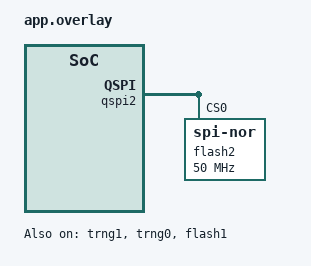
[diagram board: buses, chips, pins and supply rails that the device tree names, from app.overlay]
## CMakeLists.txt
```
# SPDX-License-Identifier: Apache-2.0
# perf_test cpu1: throughput suites for TRNG, crypto, DMA, flash/qspi and mbox.

cmake_minimum_required(VERSION 3.20.0)
find_package(Zephyr REQUIRED HINTS $ENV{ZEPHYR_BASE})
project(cpu1_perf_test)

target_sources(app PRIVATE
    src/main.c
    src/perf_buf.c
    src/perf_flash_lock.c
    src/perf_trng.c
    src/perf_crypto.c
    src/perf_dma.c
    src/perf_flash.c
    src/perf_mbox.c
    src/perf_proxy.c
    src/perf_telemetry.c)

set(COMMON ${CMAKE_CURRENT_SOURCE_DIR}/../../../common)

# Deliberately do not include common_sources.cmake: it adds gpio_toggle.c,
# whose startup LOG_INF lines interleave with the PERF output.  The perf
# project needs contiguous measurement lines, so only the result/glue modules
# are pulled in.
target_sources(app PRIVATE
    ${COMMON}/test_results.c
    ${COMMON}/ztest_glue.c)

target_include_directories(app PRIVATE
    ${CMAKE_CURRENT_SOURCE_DIR}/src
    ${CMAKE_CURRENT_SOURCE_DIR}/../include
    ${COMMON}
    ${CMAKE_CURRENT_SOURCE_DIR}/../tests/include)
```

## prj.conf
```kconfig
# SPDX-License-Identifier: Apache-2.0
# perf_test cpu1: TRNG / crypto / DMA / mbox throughput.
# The project only reports rates; functional assertions still guard each path.

CONFIG_PICOLIBC=y
CONFIG_NEWLIB_LIBC=n
CONFIG_MINIMAL_LIBC=n

CONFIG_LOG=y
CONFIG_LOG_MODE_MINIMAL=y
# The telemetry relay thread and the ztest thread both printk on cpu1;
# without this lock their characters interleave and the PERF_TEST:CTRL:
# envelope gets split (observed on hardware).
CONFIG_PRINTK_SYNC=y

CONFIG_ZTEST=y
CONFIG_ZTEST_ASSERT_VERBOSE=1
CONFIG_ZTEST_VERBOSE_OUTPUT=y
CONFIG_ZTEST_SUMMARY=n
CONFIG_ZTEST_STACK_SIZE=16384
CONFIG_MAIN_STACK_SIZE=10240

CONFIG_TIMING_FUNCTIONS=y
CONFIG_ENTROPY_GENERATOR=y
CONFIG_DMA=y
CONFIG_MBOX=y
CONFIG_GPIO=y

# ---- flash / qspi throughput ----
CONFIG_FLASH=y
CONFIG_FLASH_MAP=y
CONFIG_FLASH_PAGE_LAYOUT=y

# ---- mbedtls: accelerated hashes and ciphers ----
CONFIG_MBEDTLS=y
CONFIG_MBEDTLS_BUILTIN=y
CONFIG_MBEDTLS_ENABLE_HEAP=y
CONFIG_MBEDTLS_HEAP_SIZE=32768
# Required by the *_HARDWARE_ALT hash/cipher paths (same as otbn_selftest):
# without it sha256_alt.c / sha512_alt.c fail on mbedtls_threading_mutex_t.
CONFIG_MBEDTLS_THREADING_LINKEDSEMI_ALT=y

CONFIG_MBEDTLS_SHA224=y
CONFIG_MBEDTLS_SHA256=y
CONFIG_MBEDTLS_SHA384=y
CONFIG_MBEDTLS_SHA512=y
# cpu1 runs the hardware SHA/SM3 engine; cpu2 runs OTBN (see cpu2_perf_peer).
CONFIG_MBEDTLS_SHA224_SHA256_LINKEDSEMI_HARDWARE_ALT=y
CONFIG_MBEDTLS_SM3_LINKEDSEMI_HARDWARE_ALT=y
CONFIG_MBEDTLS_SHA384_SHA512_LINKEDSEMI_HARDWARE_ALT=y

CONFIG_MBEDTLS_CIPHER_AES_ENABLED=y
CONFIG_MBEDTLS_CIPHER_AES_LINKEDSEMI=y
CONFIG_MBEDTLS_CIPHER_MODE_CBC_ENABLED=y
CONFIG_MBEDTLS_CIPHER_MODE_CTR_ENABLED=y
CONFIG_MBEDTLS_SM4_LINKEDSEMI_HARDWARE_ALT=y

CONFIG_SM4_CLOCK_RESET=y
CONFIG_AES_CLOCK_RESET=y
CONFIG_SHA512_CLOCK_RESET=y
CONFIG_SHA256_CLOCK_RESET=y
```

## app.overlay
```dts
/*
 * SPDX-License-Identifier: Apache-2.0
 *
 * perf_test cpu1 overlay (lsqsh_evb@2os, target).
 *
 * MBOX consumers are appended after the five board-level consumers
 * (qspi/otbn/espi/vuart/pcc1 = 0..4), so their mboxes first cell is 5/6.
 * Keep this in sync with the cpu2 peer overlay.
 */

/ {
	chosen {
		zephyr,console = &uart1;
		zephyr,shell-uart = &uart1;
		zephyr,entropy = &trng1;
	};
};

&trng1 {
	status = "okay";
};

&trng0 {
	status = "okay";
};

&dmac1 {
	status = "okay";
};

&dmac2 {
	status = "okay";
};

/* qspi1 boot flash: the perf suite only touches the rwfs partition. */
&flash1 {
	status = "okay";
};

/* qspi2 board NOR (32 MiB): raw flash API throughput. */
&qspi2 {
	status = "okay";
	auto-wait-ready;
	auto-wait-interval = <1000>;

	flash2: flash2@0 {
		compatible = "jedec,spi-nor";
		reg = <0>;
		spi-max-frequency = <DT_FREQ_M(50)>;
		spi-max-buswidth = <4>;
		status = "okay";
	};
};

&mbox {
	perf_ch5: perf_ch5 {
		compatible = "vnd,mbox-consumer";
		mboxes = <&mbox 5 64 4 64 4>;
		mbox-names = "mbox";
	};

	perf_ch6: perf_ch6 {
		compatible = "vnd,mbox-consumer";
		mboxes = <&mbox 6 64 4 64 4>;
		mbox-names = "mbox";
	};

	perf_ch7: perf_ch7 {
		compatible = "vnd,mbox-consumer";
		mboxes = <&mbox 7 64 4 64 4>;
		mbox-names = "mbox";
	};

	perf_ch8: perf_ch8 {
		compatible = "vnd,mbox-consumer";
		mboxes = <&mbox 8 64 4 64 4>;
		mbox-names = "mbox";
	};

	perf_ch9: perf_ch9 {
		compatible = "vnd,mbox-consumer";
		mboxes = <&mbox 9 128 2 128 2>;
		mbox-names = "mbox";
	};
};
```

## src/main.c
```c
/*
 * SPDX-License-Identifier: Apache-2.0
 *
 * perf_test cpu1 entry: pure ztest, one banner line then zt_init/zt_run_all.
 */
#include <zephyr/kernel.h>

#include "ztest_glue.h"

extern int perf_proxy_server_init(void);
extern int perf_telemetry_init(void);

void test_main(void)
{
	printk("[CPU1 PERF] performance test started\n");

	/* Start the flash proxy server before the cpu2 client can PING it, and
	 * the telemetry relay so cpu2's result lines appear on this console. */
	(void)perf_proxy_server_init();
	(void)perf_telemetry_init();

	zt_init("TGT");
	zt_run_all();
}
```

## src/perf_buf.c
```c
/*
 * SPDX-License-Identifier: Apache-2.0
 */
#include "perf_buf.h"

uint8_t perf_buf[PERF_BUF_SIZE + PERF_BUF_PAD] __aligned(32);
```

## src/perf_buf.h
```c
/*
 * SPDX-License-Identifier: Apache-2.0
 *
 * Shared measurement buffer for perf_test.
 *
 * The 2os cpu1 RAM region is only 256 KB.  Crypto, TRNG and flash suites run
 * sequentially, so they share one buffer instead of each reserving 64 KB.
 */
#ifndef PERF_BUF_H
#define PERF_BUF_H

#include <zephyr/kernel.h>
#include <stdint.h>

#define PERF_BUF_SIZE KB(32)
/* Extra room so the unaligned hash tests can start at perf_buf + 1. */
#define PERF_BUF_PAD  32

extern uint8_t perf_buf[];

#endif /* PERF_BUF_H */
```

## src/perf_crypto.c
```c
/*
 * SPDX-License-Identifier: Apache-2.0
 *
 * Crypto throughput: accelerated SHA256/SHA512/SM3 and AES/SM4 ciphers.
 *
 * Each algorithm is measured at 1/4/16/32 KB.  The engine (hardware vs OTBN
 * for SHA/SM3) is selected by the per-case prj.conf; this source is shared.
 * Rates are informational; every path still asserts the mbedtls return value.
 */
#include <zephyr/kernel.h>
#include <zephyr/ztest.h>
#include <string.h>

#include "mbedtls/sha256.h"
#include "mbedtls/sha512.h"
#include "mbedtls/sm3_alt.h"
#include "mbedtls/aes.h"
#include "mbedtls/sm4_alt.h"

#include "perf_common.h"
#include "perf_buf.h"

static const size_t crypto_sizes[] = { KB(1), KB(4), KB(16), KB(32) };

static const uint8_t aes_key[16] = { 0 };
static const uint8_t aes_iv[16] = { 0 };
static const uint8_t sm4_key[16] = { 0 };

/* ---------------------------------------------------------------- hashes */

ZTEST(perf_crypto, sha256)
{
	mbedtls_sha256_context ctx;
	uint8_t digest[32];

	for (size_t s = 0; s < ARRAY_SIZE(crypto_sizes); s++) {
		size_t size = crypto_sizes[s];
		uint64_t t0, t1;

		mbedtls_sha256_init(&ctx);
		zassert_equal(mbedtls_sha256_starts(&ctx, 0), 0, "sha256 starts");

		t0 = k_cycle_get_64();
		zassert_equal(mbedtls_sha256_update(&ctx, perf_buf, size), 0,
			      "sha256 update %u", (unsigned)size);
		zassert_equal(mbedtls_sha256_finish(&ctx, digest), 0,
			      "sha256 finish");
		t1 = k_cycle_get_64();

		mbedtls_sha256_free(&ctx);
		perf_bytes("crypto", "sha256", size, k_cyc_to_us_floor64(t1 - t0));
	}
}

ZTEST(perf_crypto, sha512)
{
	mbedtls_sha512_context ctx;
	uint8_t digest[64];

	for (size_t s = 0; s < ARRAY_SIZE(crypto_sizes); s++) {
		size_t size = crypto_sizes[s];
		uint64_t t0, t1;

		mbedtls_sha512_init(&ctx);
		zassert_equal(mbedtls_sha512_starts(&ctx, 0), 0, "sha512 starts");

		t0 = k_cycle_get_64();
		zassert_equal(mbedtls_sha512_update(&ctx, perf_buf, size), 0,
			      "sha512 update %u", (unsigned)size);
		zassert_equal(mbedtls_sha512_finish(&ctx, digest), 0,
			      "sha512 finish");
		t1 = k_cycle_get_64();

		mbedtls_sha512_free(&ctx);
		perf_bytes("crypto", "sha512", size, k_cyc_to_us_floor64(t1 - t0));
	}
}

ZTEST(perf_crypto, sm3)
{
	mbedtls_sm3_context ctx;
	uint8_t digest[32];

	for (size_t s = 0; s < ARRAY_SIZE(crypto_sizes); s++) {
		size_t size = crypto_sizes[s];
		uint64_t t0, t1;

		mbedtls_sm3_init(&ctx);
		zassert_equal(mbedtls_sm3_starts(&ctx), 0, "sm3 starts");

		t0 = k_cycle_get_64();
		zassert_equal(mbedtls_sm3_update(&ctx, perf_buf, size), 0,
			      "sm3 update %u", (unsigned)size);
		zassert_equal(mbedtls_sm3_finish(&ctx, digest), 0, "sm3 finish");
		t1 = k_cycle_get_64();

		mbedtls_sm3_free(&ctx);
		perf_bytes("crypto", "sm3", size, k_cyc_to_us_floor64(t1 - t0));
	}
}

/* ---------------------------------------------------------------- ciphers */

ZTEST(perf_crypto, aes128_ecb)
{
	mbedtls_aes_context ctx;

	for (size_t s = 0; s < ARRAY_SIZE(crypto_sizes); s++) {
		size_t size = crypto_sizes[s];
		uint64_t t0, t1;

		mbedtls_aes_init(&ctx);
		zassert_equal(mbedtls_aes_setkey_enc(&ctx, aes_key, 128), 0,
			      "aes setkey");

		t0 = k_cycle_get_64();
		for (size_t off = 0; off < size; off += 16) {
			zassert_equal(mbedtls_aes_crypt_ecb(&ctx,
							    MBEDTLS_AES_ENCRYPT,
							    perf_buf + off,
							    perf_buf + off), 0,
				      "aes ecb at %u", (unsigned)off);
		}
		t1 = k_cycle_get_64();

		mbedtls_aes_free(&ctx);
		perf_bytes("crypto", "aes128_ecb", size,
			   k_cyc_to_us_floor64(t1 - t0));
	}
}

ZTEST(perf_crypto, aes128_cbc)
{
	mbedtls_aes_context ctx;

	for (size_t s = 0; s < ARRAY_SIZE(crypto_sizes); s++) {
		size_t size = crypto_sizes[s];
		uint8_t iv[16];
		uint64_t t0, t1;

		memcpy(iv, aes_iv, sizeof(iv));
		mbedtls_aes_init(&ctx);
		zassert_equal(mbedtls_aes_setkey_enc(&ctx, aes_key, 128), 0,
			      "aes setkey");

		t0 = k_cycle_get_64();
		zassert_equal(mbedtls_aes_crypt_cbc(&ctx, MBEDTLS_AES_ENCRYPT,
						    size, iv, perf_buf, perf_buf),
			      0, "aes cbc %u", (unsigned)size);
		t1 = k_cycle_get_64();

		mbedtls_aes_free(&ctx);
		perf_bytes("crypto", "aes128_cbc", size,
			   k_cyc_to_us_floor64(t1 - t0));
	}
}

ZTEST(perf_crypto, aes128_ctr)
{
	mbedtls_aes_context ctx;

	for (size_t s = 0; s < ARRAY_SIZE(crypto_sizes); s++) {
		size_t size = crypto_sizes[s];
		uint8_t nonce[16];
		uint8_t stream[16];
		size_t nc_off = 0;
		uint64_t t0, t1;

		memcpy(nonce, aes_iv, sizeof(nonce));
		mbedtls_aes_init(&ctx);
		zassert_equal(mbedtls_aes_setkey_enc(&ctx, aes_key, 128), 0,
			      "aes setkey");

		t0 = k_cycle_get_64();
		zassert_equal(mbedtls_aes_crypt_ctr(&ctx, size, &nc_off,
						    nonce, stream,
						    perf_buf, perf_buf), 0,
			      "aes ctr %u", (unsigned)size);
		t1 = k_cycle_get_64();

		mbedtls_aes_free(&ctx);
		perf_bytes("crypto", "aes128_ctr", size,
			   k_cyc_to_us_floor64(t1 - t0));
	}
}

ZTEST(perf_crypto, sm4_ecb)
{
	mbedtls_sm4_context ctx;

	for (size_t s = 0; s < ARRAY_SIZE(crypto_sizes); s++) {
		size_t size = crypto_sizes[s];
		uint64_t t0, t1;

		mbedtls_sm4_init(&ctx);
		zassert_equal(mbedtls_sm4_setkey(sm4_key), 0, "sm4 setkey");

		t0 = k_cycle_get_64();
		zassert_equal(mbedtls_sm4_ecb_encrypt(&ctx, perf_buf, perf_buf,
						      size), 0,
			      "sm4 ecb %u", (unsigned)size);
		t1 = k_cycle_get_64();

		mbedtls_sm4_free(&ctx);
		perf_bytes("crypto", "sm4_ecb", size,
			   k_cyc_to_us_floor64(t1 - t0));
	}
}

ZTEST(perf_crypto, sm4_ctr)
{
	mbedtls_sm4_context ctx;

	for (size_t s = 0; s < ARRAY_SIZE(crypto_sizes); s++) {
		size_t size = crypto_sizes[s];
		uint8_t iv[16];
		uint64_t t0, t1;

		memcpy(iv, aes_iv, sizeof(iv));
		mbedtls_sm4_init(&ctx);
		zassert_equal(mbedtls_sm4_setkey(sm4_key), 0, "sm4 setkey");
		zassert_equal(mbedtls_sm4_setiv(&ctx, iv), 0, "sm4 setiv");

		t0 = k_cycle_get_64();
		zassert_equal(mbedtls_sm4_ctr_crypto(&ctx, perf_buf, perf_buf,
						     size), 0,
			      "sm4 ctr %u", (unsigned)size);
		t1 = k_cyc_to_us_floor64(k_cycle_get_64() - t0);

		mbedtls_sm4_free(&ctx);
		perf_bytes("crypto", "sm4_ctr", size, t1);
	}
}

/* ==================================================================
 * Unaligned inputs (perf_buf + 1): the hardware engines have a fast path
 * only for aligned buffers, so the aligned/unaligned delta is itself a
 * result worth measuring.  The buffer is filled with a constant byte so the
 * aligned reference and the unaligned run hash identical content.
 * ================================================================== */

static void ref_sha256(const uint8_t *in, size_t len, uint8_t out[32])
{
	mbedtls_sha256_context c;

	mbedtls_sha256_init(&c);
	zassert_equal(mbedtls_sha256_starts(&c, 0), 0, "sha256 ref starts");
	zassert_equal(mbedtls_sha256_update(&c, in, len), 0, "sha256 ref update");
	zassert_equal(mbedtls_sha256_finish(&c, out), 0, "sha256 ref finish");
	mbedtls_sha256_free(&c);
}

static void ref_sha512(const uint8_t *in, size_t len, uint8_t out[64])
{
	mbedtls_sha512_context c;

	mbedtls_sha512_init(&c);
	zassert_equal(mbedtls_sha512_starts(&c, 0), 0, "sha512 ref starts");
	zassert_equal(mbedtls_sha512_update(&c, in, len), 0, "sha512 ref update");
	zassert_equal(mbedtls_sha512_finish(&c, out), 0, "sha512 ref finish");
	mbedtls_sha512_free(&c);
}

static void ref_sm3(const uint8_t *in, size_t len, uint8_t out[32])
{
	mbedtls_sm3_context c;

	mbedtls_sm3_init(&c);
	zassert_equal(mbedtls_sm3_starts(&c), 0, "sm3 ref starts");
	zassert_equal(mbedtls_sm3_update(&c, in, len), 0, "sm3 ref update");
	zassert_equal(mbedtls_sm3_finish(&c, out), 0, "sm3 ref finish");
	mbedtls_sm3_free(&c);
}

ZTEST(perf_crypto, sha256_unaligned)
{
	uint8_t ref[32];
	uint8_t out[32];

	memset(perf_buf, 0x5A, PERF_BUF_SIZE + PERF_BUF_PAD);

	for (size_t s = 0; s < ARRAY_SIZE(crypto_sizes); s++) {
		size_t size = crypto_sizes[s];
		mbedtls_sha256_context c;
		uint64_t t0, t1;

		ref_sha256(perf_buf, size, ref);

		mbedtls_sha256_init(&c);
		zassert_equal(mbedtls_sha256_starts(&c, 0), 0, "sha256 u starts");

		t0 = k_cycle_get_64();
		zassert_equal(mbedtls_sha256_update(&c, perf_buf + 1, size), 0,
			      "sha256 u update %u", (unsigned)size);
		zassert_equal(mbedtls_sha256_finish(&c, out), 0, "sha256 u finish");
		t1 = k_cycle_get_64();

		mbedtls_sha256_free(&c);
		zassert_mem_equal(ref, out, sizeof(out),
				  "sha256 unaligned digest mismatch size=%u",
				  (unsigned)size);
		perf_bytes("crypto", "sha256_unaligned", size,
			   k_cyc_to_us_floor64(t1 - t0));
	}
}

ZTEST(perf_crypto, sha512_unaligned)
{
	uint8_t ref[64];
	uint8_t out[64];

	memset(perf_buf, 0x5A, PERF_BUF_SIZE + PERF_BUF_PAD);

	for (size_t s = 0; s < ARRAY_SIZE(crypto_sizes); s++) {
		size_t size = crypto_sizes[s];
		mbedtls_sha512_context c;
		uint64_t t0, t1;

		ref_sha512(perf_buf, size, ref);

		mbedtls_sha512_init(&c);
		zassert_equal(mbedtls_sha512_starts(&c, 0), 0, "sha512 u starts");

		t0 = k_cycle_get_64();
		zassert_equal(mbedtls_sha512_update(&c, perf_buf + 1, size), 0,
			      "sha512 u update %u", (unsigned)size);
		zassert_equal(mbedtls_sha512_finish(&c, out), 0, "sha512 u finish");
		t1 = k_cycle_get_64();

		mbedtls_sha512_free(&c);
		zassert_mem_equal(ref, out, sizeof(out),
				  "sha512 unaligned digest mismatch size=%u",
				  (unsigned)size);
		perf_bytes("crypto", "sha512_unaligned", size,
			   k_cyc_to_us_floor64(t1 - t0));
	}
}

ZTEST(perf_crypto, sm3_unaligned)
{
	uint8_t ref[32];
	uint8_t out[32];

	memset(perf_buf, 0x5A, PERF_BUF_SIZE + PERF_BUF_PAD);

	for (size_t s = 0; s < ARRAY_SIZE(crypto_sizes); s++) {
		size_t size = crypto_sizes[s];
		mbedtls_sm3_context c;
		uint64_t t0, t1;

		ref_sm3(perf_buf, size, ref);

		mbedtls_sm3_init(&c);
		zassert_equal(mbedtls_sm3_starts(&c), 0, "sm3 u starts");

		t0 = k_cycle_get_64();
		zassert_equal(mbedtls_sm3_update(&c, perf_buf + 1, size), 0,
			      "sm3 u update %u", (unsigned)size);
		zassert_equal(mbedtls_sm3_finish(&c, out), 0, "sm3 u finish");
		t1 = k_cycle_get_64();

		mbedtls_sm3_free(&c);
		zassert_mem_equal(ref, out, sizeof(out),
				  "sm3 unaligned digest mismatch size=%u",
				  (unsigned)size);
		perf_bytes("crypto", "sm3_unaligned", size,
			   k_cyc_to_us_floor64(t1 - t0));
	}
}

ZTEST_SUITE(perf_crypto, NULL, NULL, NULL, NULL, NULL);
```

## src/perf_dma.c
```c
/*
 * SPDX-License-Identifier: Apache-2.0
 *
 * DMA memory-to-memory throughput.
 *
 * dmac1 on this SoC limits a single block transfer to the
 * ctlh-block-ts-mask value (0x7ff -> 2047 bytes), so larger totals are
 * measured as a series of block transfers.  The PERF line reports the total
 * bytes moved, which is the number that matters for sustained throughput.
 */
#include <zephyr/kernel.h>
#include <zephyr/ztest.h>
#include <zephyr/device.h>
#include <zephyr/drivers/dma.h>
#include <string.h>

#include "perf_common.h"

#define DMA_NODE DT_NODELABEL(dmac1)
#define DMA_CHANNEL 0
#define DMA_BLOCK_SIZE KB(1)
#define DMA_MAX_SIZE KB(16)

static __nocache __aligned(32) uint8_t dma_src[DMA_MAX_SIZE];
static __nocache __aligned(32) uint8_t dma_dst[DMA_MAX_SIZE];
static K_SEM_DEFINE(dma_done_sem, 0, 1);

static void dma_cb(const struct device *dev, void *arg, uint32_t id, int status)
{
	ARG_UNUSED(dev);
	ARG_UNUSED(arg);
	ARG_UNUSED(id);
	ARG_UNUSED(status);
	k_sem_give(&dma_done_sem);
}

static void dma_run_once(const struct device *dev, size_t size)
{
	struct dma_config cfg = {
		.dma_slot = 0,
		.channel_direction = MEMORY_TO_MEMORY,
		.dma_callback = dma_cb,
		.complete_callback_en = 1,
		.error_callback_dis = 0,
		.source_data_size = 1,
		.dest_data_size = 1,
		.source_burst_length = 1,
		.dest_burst_length = 1,
		.block_count = 1,
	};
	struct dma_block_config block = {
		.source_address = (uint32_t)dma_src,
		.dest_address = (uint32_t)dma_dst,
		.block_size = size,
	};

	cfg.head_block = &block;

	/* The driver may emit more than one callback per transfer (block and
	 * completion); clear stale counts before each start. */
	k_sem_reset(&dma_done_sem);
	zassert_ok(dma_config(dev, DMA_CHANNEL, &cfg), "dma_config size=%u",
		   (unsigned)size);
	zassert_ok(dma_start(dev, DMA_CHANNEL), "dma_start size=%u",
		   (unsigned)size);
	zassert_ok(k_sem_take(&dma_done_sem, K_MSEC(2000)),
		   "dma timeout size=%u", (unsigned)size);
}

ZTEST(perf_dma, mem2mem)
{
	const struct device *dev = DEVICE_DT_GET(DMA_NODE);
	static const size_t totals[] = { KB(1), KB(4), KB(16) };

	zassert_true(device_is_ready(dev), "dmac1 not ready");

	for (int i = 0; i < (int)sizeof(dma_src); i++) {
		dma_src[i] = (uint8_t)i;
	}

	for (size_t s = 0; s < ARRAY_SIZE(totals); s++) {
		size_t total = totals[s];
		size_t blocks = total / DMA_BLOCK_SIZE;
		uint64_t t0, t1;

		memset(dma_dst, 0, total);
		t0 = k_cycle_get_64();
		for (size_t b = 0; b < blocks; b++) {
			dma_run_once(dev, DMA_BLOCK_SIZE);
		}
		t1 = k_cycle_get_64();

		zassert_mem_equal(dma_src, dma_dst, DMA_BLOCK_SIZE,
				  "dma data mismatch total=%u", (unsigned)total);
		perf_bytes("dma", "mem2mem", total, k_cyc_to_us_floor64(t1 - t0));
	}
}

ZTEST_SUITE(perf_dma, NULL, NULL, NULL, NULL, NULL);
```

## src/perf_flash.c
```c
/*
 * SPDX-License-Identifier: Apache-2.0
 *
 * NOR flash throughput: qspi1 boot flash (rwfs partition) and qspi2 board NOR.
 *
 * Both paths are DESTRUCTIVE to their scratch area.  This project runs 2os
 * from RAM, so qspi1 writes do not touch the running image; they only overwrite
 * the rwfs partition.  qspi2 uses the first 32 KB of the board NOR.
 */
#include <zephyr/kernel.h>
#include <zephyr/ztest.h>
#include <zephyr/device.h>
#include <zephyr/storage/flash_map.h>
#include <zephyr/drivers/flash.h>
#include <string.h>

#include "perf_common.h"
#include "perf_buf.h"
#include "perf_flash_lock.h"

#define FLASH_SIZE PERF_BUF_SIZE

static void perf_flash_fill(uint8_t seed)
{
	for (size_t i = 0; i < FLASH_SIZE; i++) {
		perf_buf[i] = (uint8_t)(seed + i);
	}
}

/* ---------------------------------------------------- qspi1 (flash_area) */

/* In the integrated image this core reaches qspi1 through the flash
 * delegation client, and that path hangs (measured 2026-10-29: the request is
 * never answered, the case waits out the 200 s delegation timeout and is
 * aborted by the 120 s case watchdog).  Keep the three delegated cases out of
 * the integrated build; the standalone perf_test project still covers them
 * (there qspi1 is local). */
#if !defined(PERF_FLASH_SKIP_DELEGATED)

ZTEST(perf_flash, flash1_read)
{
	const struct flash_area *fa;
	uint64_t t0, t1;

	zassert_equal(flash_area_open(FIXED_PARTITION_ID(rwfs_partition), &fa),
		      0, "open rwfs partition");

	t0 = k_cycle_get_64();
	zassert_equal(flash_area_read(fa, 0, perf_buf, FLASH_SIZE), 0,
		      "rwfs read");
	t1 = k_cycle_get_64();

	flash_area_close(fa);
	perf_bytes("flash", "qspi1_read", FLASH_SIZE,
		   k_cyc_to_us_floor64(t1 - t0));
}

ZTEST(perf_flash, flash1_write)
{
	const struct flash_area *fa;
	uint64_t t0, t1;

	zassert_equal(flash_area_open(FIXED_PARTITION_ID(rwfs_partition), &fa),
		      0, "open rwfs partition");
	zassert_equal(flash_area_erase(fa, 0, FLASH_SIZE), 0, "rwfs pre-erase");
	perf_flash_fill(0x11);

	t0 = k_cycle_get_64();
	zassert_equal(flash_area_write(fa, 0, perf_buf, FLASH_SIZE), 0,
		      "rwfs write");
	t1 = k_cycle_get_64();

	flash_area_close(fa);
	perf_bytes("flash", "qspi1_write", FLASH_SIZE,
		   k_cyc_to_us_floor64(t1 - t0));
}

ZTEST(perf_flash, flash1_erase)
{
	const struct flash_area *fa;
	uint64_t t0, t1;

	zassert_equal(flash_area_open(FIXED_PARTITION_ID(rwfs_partition), &fa),
		      0, "open rwfs partition");

	t0 = k_cycle_get_64();
	zassert_equal(flash_area_erase(fa, 0, FLASH_SIZE), 0, "rwfs erase");
	t1 = k_cycle_get_64();

	flash_area_close(fa);
	perf_bytes("flash", "qspi1_erase", FLASH_SIZE,
		   k_cyc_to_us_floor64(t1 - t0));
}

#endif /* !PERF_FLASH_SKIP_DELEGATED */

/* ------------------------------------------------------- qspi2 (flash2) */

ZTEST(perf_flash, flash2_read)
{
	const struct device *dev = DEVICE_DT_GET(DT_NODELABEL(flash2));
	uint64_t t0, t1;

	zassert_true(device_is_ready(dev), "flash2 not ready");

	k_mutex_lock(&perf_flash_mutex, K_FOREVER);
	t0 = k_cycle_get_64();
	zassert_equal(flash_read(dev, 0, perf_buf, FLASH_SIZE), 0,
		      "flash2 read");
	t1 = k_cycle_get_64();
	k_mutex_unlock(&perf_flash_mutex);

	perf_bytes("flash", "qspi2_read", FLASH_SIZE,
		   k_cyc_to_us_floor64(t1 - t0));
}

ZTEST(perf_flash, flash2_write)
{
	const struct device *dev = DEVICE_DT_GET(DT_NODELABEL(flash2));
	uint64_t t0, t1;

	zassert_true(device_is_ready(dev), "flash2 not ready");

	k_mutex_lock(&perf_flash_mutex, K_FOREVER);
	zassert_equal(flash_erase(dev, 0, FLASH_SIZE), 0, "flash2 pre-erase");
	perf_flash_fill(0x22);
	t0 = k_cycle_get_64();
	zassert_equal(flash_write(dev, 0, perf_buf, FLASH_SIZE), 0,
		      "flash2 write");
	t1 = k_cycle_get_64();
	k_mutex_unlock(&perf_flash_mutex);

	perf_bytes("flash", "qspi2_write", FLASH_SIZE,
		   k_cyc_to_us_floor64(t1 - t0));
}

ZTEST(perf_flash, flash2_erase)
{
	const struct device *dev = DEVICE_DT_GET(DT_NODELABEL(flash2));
	uint64_t t0, t1;

	zassert_true(device_is_ready(dev), "flash2 not ready");

	k_mutex_lock(&perf_flash_mutex, K_FOREVER);
	t0 = k_cycle_get_64();
	zassert_equal(flash_erase(dev, 0, FLASH_SIZE), 0, "flash2 erase");
	t1 = k_cycle_get_64();
	k_mutex_unlock(&perf_flash_mutex);

	perf_bytes("flash", "qspi2_erase", FLASH_SIZE,
		   k_cyc_to_us_floor64(t1 - t0));
}

ZTEST_SUITE(perf_flash, NULL, NULL, NULL, NULL, NULL);
```

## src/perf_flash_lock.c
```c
/*
 * SPDX-License-Identifier: Apache-2.0
 */
#include "perf_flash_lock.h"

K_MUTEX_DEFINE(perf_flash_mutex);
```

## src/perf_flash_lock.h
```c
/*
 * SPDX-License-Identifier: Apache-2.0
 *
 * Serializes access to the qspi2 NOR between the local perf_flash suite and
 * the cpu2 flash-proxy server thread (both run on cpu1).
 */
#ifndef PERF_FLASH_LOCK_H
#define PERF_FLASH_LOCK_H

#include <zephyr/kernel.h>

extern struct k_mutex perf_flash_mutex;

#endif /* PERF_FLASH_LOCK_H */
```

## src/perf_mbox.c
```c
/*
 * SPDX-License-Identifier: Apache-2.0
 *
 * MBOX round-trip throughput against the cpu2 echo peer.
 *
 * cpu1 sends 64-byte frames on perf_ch5; the peer echoes each frame back on
 * perf_ch6.  Each iteration waits for its echo, so the measured time includes
 * the peer's scheduling latency (that is the point of the round-trip number).
 */
#include <zephyr/kernel.h>
#include <zephyr/ztest.h>
#include <zephyr/drivers/mbox.h>
#include <string.h>

#include "perf_common.h"

#define PERF_MBOX_MAGIC  0x50455246u /* "PERF" */
#define PERF_READY_MAGIC 0x52454144u /* "READY" */
/* "HELO": the peer echoes frames verbatim, so this coming back proves
 * the echo thread is alive (used when the peer booted long ago). */
#define PERF_HELLO_MAGIC 0x4F4C4548u
#define PERF_FRAMES      500
#define PERF_ECHO_TIMEOUT_MS 1000

struct perf_msg {
	uint32_t magic;
	uint32_t seq;
	uint8_t payload[56];
};

_Static_assert(sizeof(struct perf_msg) == 64,
	       "perf_msg must match the 64-byte mbox channel width");

static const struct mbox_dt_spec mbox_tx = MBOX_DT_SPEC_GET(DT_NODELABEL(perf_ch5), mbox);
static const struct mbox_dt_spec mbox_rx = MBOX_DT_SPEC_GET(DT_NODELABEL(perf_ch6), mbox);

static K_SEM_DEFINE(rx_sem, 0, PERF_FRAMES + 1);
static volatile bool peer_ready;
static volatile uint32_t rx_count;
static volatile uint32_t rx_errors;

static void mbox_rx_cb(const struct device *dev, mbox_channel_id_t channel,
		       void *user_data, struct mbox_msg *msg)
{
	ARG_UNUSED(dev);
	ARG_UNUSED(channel);
	ARG_UNUSED(user_data);

	if (msg == NULL || msg->data == NULL ||
	    msg->size < sizeof(struct perf_msg)) {
		rx_errors++;
		return;
	}

	const struct perf_msg *m = (const struct perf_msg *)msg->data;

	if (m->magic == PERF_READY_MAGIC || m->magic == PERF_HELLO_MAGIC) {
		peer_ready = true;
	} else if (m->magic == PERF_MBOX_MAGIC) {
		rx_count++;
	} else {
		rx_errors++;
		return;
	}

	k_sem_give(&rx_sem);
}

ZTEST(perf_mbox, roundtrip)
{
	zassert_equal(mbox_register_callback(mbox_rx.dev, mbox_rx.channel_id,
					     mbox_rx_cb, NULL), 0,
		      "register rx callback");
	zassert_equal(mbox_set_enabled(mbox_rx.dev, mbox_rx.channel_id, 1), 0,
		      "enable rx channel");

	/* Liveness probe first: the peer echoes every frame verbatim, so a HELLO
	 * coming back proves its echo thread is running.  In the integrated image
	 * cpu1 runs this suite long after cpu2 booted, so a one-shot READY sent at
	 * boot would be missed; the probe works at any time and costs two frames. */
	for (int i = 0; i < 30 && !peer_ready; i++) {
		struct perf_msg hello = {
			.magic = PERF_HELLO_MAGIC,
			.seq = 0,
		};
		struct mbox_msg hmsg = {
			.data = &hello,
			.size = sizeof(hello),
		};

		(void)mbox_send_dt(&mbox_tx, &hmsg);
		(void)k_sem_take(&rx_sem, K_MSEC(100));
	}

	/* Fallback: the peer may announce READY by itself (standalone perf_test,
	 * where both cores start together). */
	int64_t deadline = k_uptime_get() + 5000;

	while (!peer_ready && k_uptime_get() < deadline) {
		(void)k_sem_take(&rx_sem, K_MSEC(100));
	}

	zassert_true(peer_ready, "peer did not report READY");
	zassert_equal(rx_errors, 0, "rx errors before round-trip: %u",
		      (unsigned)rx_errors);

	/* Drain late HELLO echoes so they cannot be mistaken for round-trip
	 * frames (one token per send below). */
	k_msleep(50);
	while (k_sem_take(&rx_sem, K_NO_WAIT) == 0) {
	}
	k_sem_reset(&rx_sem);
	rx_count = 0;

	uint64_t t0 = k_cycle_get_64();

	for (uint32_t i = 0; i < PERF_FRAMES; i++) {
		struct perf_msg m = {
			.magic = PERF_MBOX_MAGIC,
			.seq = i,
		};
		struct mbox_msg msg = {
			.data = &m,
			.size = sizeof(m),
		};

		memset(m.payload, (uint8_t)i, sizeof(m.payload));

		zassert_equal(mbox_send_dt(&mbox_tx, &msg), 0,
			      "send seq %u failed", (unsigned)i);
		zassert_equal(k_sem_take(&rx_sem, K_MSEC(PERF_ECHO_TIMEOUT_MS)),
			      0, "echo timeout at seq %u", (unsigned)i);
	}

	uint64_t t1 = k_cycle_get_64();

	zassert_equal(rx_count, PERF_FRAMES,
		      "echo count %u != %u", (unsigned)rx_count,
		      (unsigned)PERF_FRAMES);
	zassert_equal(rx_errors, 0, "rx errors after round-trip: %u",
		      (unsigned)rx_errors);

	uint64_t us = k_cyc_to_us_floor64(t1 - t0);
	uint64_t bytes = (uint64_t)PERF_FRAMES * sizeof(struct perf_msg);

	perf_bytes("mbox", "roundtrip_64B", bytes, us);
	perf_ops("mbox", "roundtrip", PERF_FRAMES, us);
}

ZTEST_SUITE(perf_mbox, NULL, NULL, NULL, NULL, NULL);
```

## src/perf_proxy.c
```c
/*
 * SPDX-License-Identifier: Apache-2.0
 *
 * Flash proxy server (cpu1).  Handles requests from the cpu2 client on
 * perf_ch7 and replies on perf_ch8.  The data path is the qspi2 board NOR;
 * every operation is performed here, so the cpu2 side measures the full
 * request/transfer round trip.
 */
#include <zephyr/kernel.h>
#include <zephyr/device.h>
#include <zephyr/drivers/mbox.h>
#include <zephyr/drivers/flash.h>
#include <errno.h>
#include <string.h>

#include "perf_proxy.h"
#include "perf_flash_lock.h"

static const struct mbox_dt_spec rx_ch = MBOX_DT_SPEC_GET(DT_NODELABEL(perf_ch7), mbox);
static const struct mbox_dt_spec tx_ch = MBOX_DT_SPEC_GET(DT_NODELABEL(perf_ch8), mbox);

static const struct device *flash_dev;
static uint8_t proxy_buf[PERF_PROXY_SIZE];

/* A 4 KB proxy operation is split into ~103 frames; the inbound queue must
 * hold a whole burst or K_NO_WAIT drops requests. */
K_MSGQ_DEFINE(proxy_q, sizeof(struct perf_proxy_msg), 128, 4);

static int proxy_send(const struct perf_proxy_msg *m)
{
	struct mbox_msg msg = {
		.data = m,
		.size = sizeof(*m),
	};

	/* The peer may still be draining the FIFO; retry briefly. */
	for (int i = 0; i < 200; i++) {
		if (mbox_send_dt(&tx_ch, &msg) == 0) {
			return 0;
		}
		k_msleep(1);
	}
	return -EIO;
}

static void proxy_rx_cb(const struct device *dev, mbox_channel_id_t channel,
			void *user_data, struct mbox_msg *msg)
{
	ARG_UNUSED(dev);
	ARG_UNUSED(channel);
	ARG_UNUSED(user_data);

	if (msg == NULL || msg->data == NULL ||
	    msg->size < sizeof(struct perf_proxy_msg)) {
		return;
	}
	(void)k_msgq_put(&proxy_q, msg->data, K_NO_WAIT);
}

static void proxy_send_ack(uint8_t op, uint16_t seq, int status)
{
	struct perf_proxy_msg r = {
		.magic = PERF_PROXY_MAGIC,
		.op = op,
		.flags = PERF_PROXY_FLAG_LAST,
		.seq = seq,
		.status = (uint32_t)status,
	};

	(void)proxy_send(&r);
}

static void proxy_server_thread(void *a, void *b, void *c)
{
	ARG_UNUSED(a);
	ARG_UNUSED(b);
	ARG_UNUSED(c);

	for (;;) {
		struct perf_proxy_msg m;

		if (k_msgq_get(&proxy_q, &m, K_FOREVER) != 0) {
			continue;
		}
		if (m.magic != PERF_PROXY_MAGIC) {
			continue;
		}

		switch (m.op) {
		case PERF_PROXY_PING:
			proxy_send_ack(m.op, m.seq, 0);
			break;

		case PERF_PROXY_ERASE: {
			int rc;

			k_mutex_lock(&perf_flash_mutex, K_FOREVER);
			rc = flash_erase(flash_dev, m.offset, m.len);
			k_mutex_unlock(&perf_flash_mutex);
			proxy_send_ack(m.op, m.seq, rc);
			break;
		}

		case PERF_PROXY_WRITE: {
			/* Each frame carries one chunk; offset is the chunk base. */
			int rc;

			k_mutex_lock(&perf_flash_mutex, K_FOREVER);
			rc = flash_write(flash_dev, m.offset, m.data, m.len);
			k_mutex_unlock(&perf_flash_mutex);

			if ((m.flags & PERF_PROXY_FLAG_LAST) || rc != 0) {
				proxy_send_ack(m.op, m.seq, rc);
			}
			break;
		}

		case PERF_PROXY_READ: {
			int rc;

			k_mutex_lock(&perf_flash_mutex, K_FOREVER);
			rc = flash_read(flash_dev, m.offset, proxy_buf, m.len);
			k_mutex_unlock(&perf_flash_mutex);

			if (rc != 0) {
				proxy_send_ack(m.op, m.seq, rc);
				break;
			}

			for (uint32_t off = 0; off < m.len; off += PERF_PROXY_CHUNK) {
				uint32_t n = MIN(PERF_PROXY_CHUNK, m.len - off);
				struct perf_proxy_msg c = {
					.magic = PERF_PROXY_MAGIC,
					.op = PERF_PROXY_READ,
					.seq = m.seq,
					.offset = m.offset + off,
					.len = n,
					.status = 0,
				};

				if (off + n >= m.len) {
					c.flags = PERF_PROXY_FLAG_LAST;
				}
				memcpy(c.data, &proxy_buf[off], n);
				(void)proxy_send(&c);
			}
			break;
		}

		default:
			proxy_send_ack(m.op, m.seq, -EINVAL);
			break;
		}
	}
}

static K_THREAD_STACK_DEFINE(proxy_stack, 4096);
static struct k_thread proxy_td;

int perf_proxy_server_init(void)
{
	flash_dev = DEVICE_DT_GET(DT_NODELABEL(flash2));
	if (!device_is_ready(flash_dev)) {
		return -ENODEV;
	}

	(void)mbox_register_callback(rx_ch.dev, rx_ch.channel_id,
				     proxy_rx_cb, NULL);
	(void)mbox_set_enabled(rx_ch.dev, rx_ch.channel_id, 1);

	k_thread_create(&proxy_td, proxy_stack, K_THREAD_STACK_SIZEOF(proxy_stack),
			proxy_server_thread, NULL, NULL, NULL,
			K_PRIO_PREEMPT(8), 0, K_NO_WAIT);
	k_thread_name_set(&proxy_td, "perf_proxy");
	return 0;
}
```

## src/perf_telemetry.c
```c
/*
 * SPDX-License-Identifier: Apache-2.0
 *
 * Telemetry relay server (cpu1).  The cpu2 peer sends one text line per 64-byte
 * frame on perf_ch9; this server prints it on the cpu1 console with a
 * "PERF_TEST:CTRL:" envelope.  That makes cpu1's UART the single test-data
 * outlet while the raw record still carries the source core.
 */
#include <zephyr/kernel.h>
#include <zephyr/device.h>
#include <zephyr/drivers/mbox.h>
#include <string.h>

#define TELEMETRY_FRAME_SIZE 128

static const struct mbox_dt_spec rx_ch = MBOX_DT_SPEC_GET(DT_NODELABEL(perf_ch9), mbox);

K_MSGQ_DEFINE(tele_q, TELEMETRY_FRAME_SIZE, 32, 4);

static void telemetry_rx_cb(const struct device *dev, mbox_channel_id_t channel,
			    void *user_data, struct mbox_msg *msg)
{
	ARG_UNUSED(dev);
	ARG_UNUSED(channel);
	ARG_UNUSED(user_data);

	if (msg == NULL || msg->data == NULL ||
	    msg->size < TELEMETRY_FRAME_SIZE) {
		return;
	}
	(void)k_msgq_put(&tele_q, msg->data, K_NO_WAIT);
}

static void telemetry_thread(void *a, void *b, void *c)
{
	ARG_UNUSED(a);
	ARG_UNUSED(b);
	ARG_UNUSED(c);

	for (;;) {
		char buf[TELEMETRY_FRAME_SIZE];

		if (k_msgq_get(&tele_q, buf, K_FOREVER) != 0) {
			continue;
		}
		buf[TELEMETRY_FRAME_SIZE - 1] = '\0';
		printk("PERF_TEST:CTRL:%s\n", buf);
	}
}

static K_THREAD_STACK_DEFINE(telemetry_stack, 2048);
static struct k_thread telemetry_td;

int perf_telemetry_init(void)
{
	(void)mbox_register_callback(rx_ch.dev, rx_ch.channel_id,
				     telemetry_rx_cb, NULL);
	(void)mbox_set_enabled(rx_ch.dev, rx_ch.channel_id, 1);

	k_thread_create(&telemetry_td, telemetry_stack,
			K_THREAD_STACK_SIZEOF(telemetry_stack),
			telemetry_thread, NULL, NULL, NULL,
			K_PRIO_PREEMPT(9), 0, K_NO_WAIT);
	k_thread_name_set(&telemetry_td, "perf_telemetry");
	return 0;
}
```

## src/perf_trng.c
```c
/*
 * SPDX-License-Identifier: Apache-2.0
 *
 * TRNG throughput: trng1 (DesignWare) and trng0 (APB ring oscillator).
 */
#include <zephyr/kernel.h>
#include <zephyr/ztest.h>
#include <zephyr/device.h>
#include <zephyr/drivers/entropy.h>

#include "perf_common.h"
#include "perf_buf.h"

static void trng_measure(const struct device *dev, const char *op,
			 size_t total, size_t chunk)
{
	int ret = 0;
	uint64_t t0 = k_cycle_get_64();

	for (size_t off = 0; off < total && ret == 0; off += chunk) {
		size_t len = MIN(chunk, total - off);

		ret = entropy_get_entropy(dev, &perf_buf[off], (uint16_t)len);
	}

	uint64_t t1 = k_cycle_get_64();

	zassert_equal(ret, 0, "%s entropy_get_entropy failed: %d", op, ret);
	perf_bytes("trng", op, total, k_cyc_to_us_floor64(t1 - t0));
}

ZTEST(perf_trng, trng1_throughput)
{
	trng_measure(DEVICE_DT_GET(DT_NODELABEL(trng1)), "trng1_dw",
		     PERF_BUF_SIZE, KB(8));
}

ZTEST(perf_trng, trng0_throughput)
{
	trng_measure(DEVICE_DT_GET(DT_NODELABEL(trng0)), "trng0_apb",
		     KB(4), KB(4));
}

ZTEST_SUITE(perf_trng, NULL, NULL, NULL, NULL, NULL);
```
